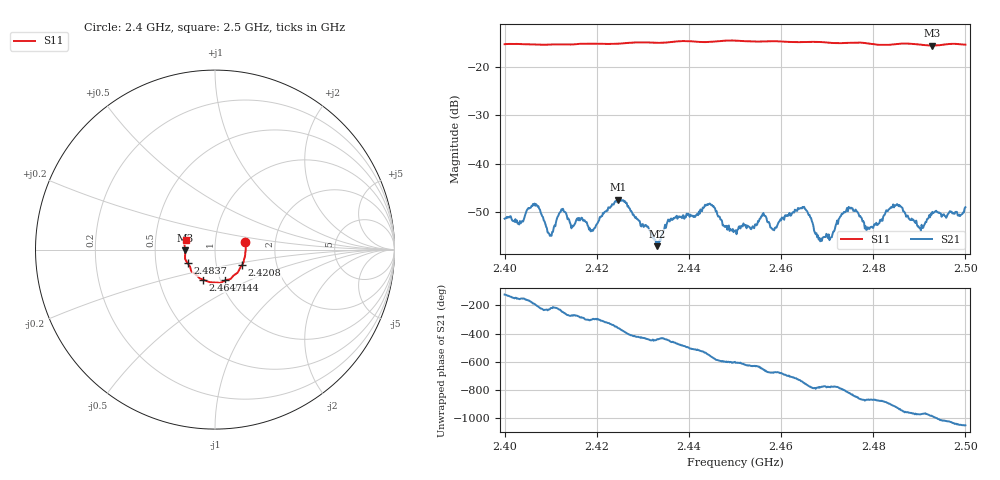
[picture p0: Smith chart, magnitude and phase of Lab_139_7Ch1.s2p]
# Hz S RI R 50
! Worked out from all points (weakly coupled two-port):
!   601 points, 2.4 GHz to 2.5 GHz, reference 50 ohm
!   highest |S21| = -47.39 dB at 2.4247 GHz (marker M1); lowest = -57.0 dB at 2.433 GHz (marker M2)
!   lowest |S11| = -15.6 dB at 2.4928 GHz (marker M3), VSWR 1.40, Z = 35.7 - j0.331 ohm
!   |S11| at or under -10 dB: start of sweep to end of sweep
!   S12 and S22 are empty: the file has one direction only
!   S11 on the Smith chart (normalised r, x): 2.4 GHz: 1.39, +0.12; 2.4208 GHz: 1.33, -0.24; 2.444 GHz: 1.05, -0.37; 2.4647 GHz: 0.83, -0.29; 2.4837 GHz: 0.73, -0.11; 2.5 GHz: 0.72, +0.08
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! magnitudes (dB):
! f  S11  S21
! 2.4 GHz  -15.3  -51.3
! 2.4067 GHz  -15.4  -48.7
! 2.4098 GHz  -15.4  -54.9
! 2.4123 GHz  -15.3  -49.4
! 2.4167 GHz  -15.2  -51.1
! 2.4208 GHz  -15.2  -51.0
! 2.4247 GHz  -15.2  -47.4
! 2.433 GHz  -15.0  -57.0
! 2.4333 GHz  -15.0  -56.0
! 2.4358 GHz  -14.9  -51.9
! 2.444 GHz  -14.9  -48.3
! 2.45 GHz  -14.6  -53.8
! 2.4647 GHz  -14.9  -48.9
! 2.4667 GHz  -14.8  -51.8
! 2.4687 GHz  -14.9  -55.4
! 2.4747 GHz  -15.0  -48.9
! 2.4787 GHz  -15.1  -53.6
! 2.4833 GHz  -15.4  -49.4
! 2.4837 GHz  -15.4  -49.2
! 2.4903 GHz  -15.4  -53.8
! 2.4928 GHz  -15.6  -49.9
! 2.5 GHz  -15.4  -49.0
